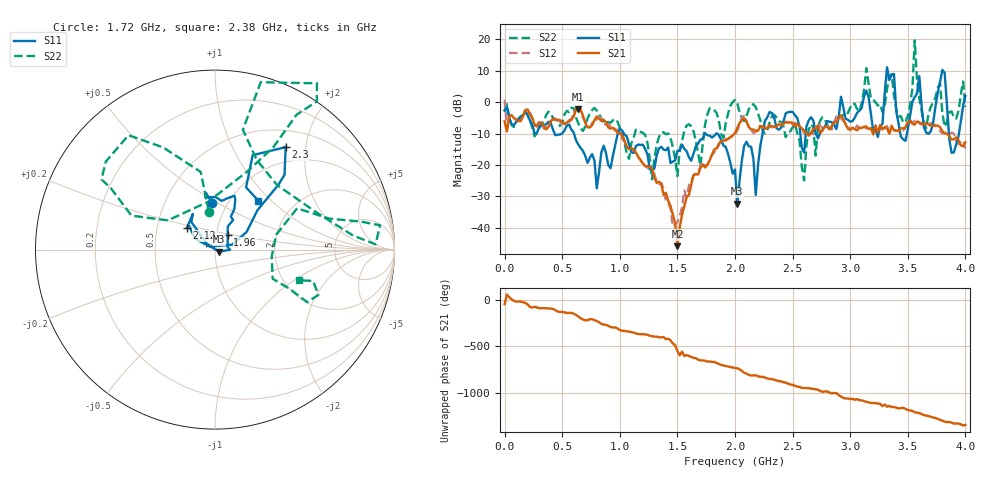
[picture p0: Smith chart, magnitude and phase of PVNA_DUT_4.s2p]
! PocketVna 1.78  pocketvna.com
! Live measurements ((Reflection-S11, Transmission-S21, Transmission-S12, Reflection-S22) Linear 500000-4000000000/201 calibrated)
# Hz S RI R 50
! Hz  ReS11  ImS11  ReS21  ImS21  ReS12  ImS12  ReS22  ImS22
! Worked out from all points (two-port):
!   201 points, 500 kHz to 4 GHz, reference 50 ohm
!   highest |S21| = -2.16 dB at 640.4 MHz (marker M1); lowest = -45.9 dB at 1.5 GHz (marker M2)
!   |S21| within 3 dB of the highest: 151.9 MHz to 242 MHz (90.11 MHz wide, 45.8 % of centre); 588.6 MHz to 688.2 MHz (99.62 MHz wide, 15.6 % of centre) (the widest 2 of 6)
!   lowest |S11| = -32.4 dB at 2.02 GHz (marker M3), VSWR 1.05, Z = 52.1 - j1.26 ohm
!   |S11| at or under -10 dB: 603.1 MHz to 984 MHz (380.9 MHz wide, 48 % of centre); 1.036 GHz to 1.739 GHz (703 MHz wide, 50.7 % of centre); 1.844 GHz to 2.239 GHz (395.8 MHz wide, 19.4 % of centre) (the widest 3 of 11)
!   |S22| runs from -24.9 to 19.7 dB; largest |S21 - S12| = 1.6
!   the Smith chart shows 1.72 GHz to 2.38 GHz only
!   S11 on the Smith chart (normalised r, x): 1.72 GHz: 0.85, +0.47; 1.96 GHz: 1.14, +0.19; 2.12 GHz: 0.71, +0.18; 2.3 GHz: 0.74, +1.65; 2.38 GHz: 1.33, +0.84
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500000  0.7235 0.181  0.3383 -0.3594  -0.6163 0.911  -0.0331 0.6955
6.4042e8  0.1468 -0.1512  -0.7795 0.00842  -0.7622 0.0265  0.2836 0.36
6.80415e8  -0.0157 -0.1663  -0.5299 0.3089  -0.4814 0.2983  0.2701 0.2179
1.340332e9  -0.0697 -0.1696  0.0403 -0.036  0.0329 -0.0373  -0.2786 -0.0108
1.500312e9  -0.1659 -0.0212  -0.00502 0.00071  -0.0123 0.000366  0.0635 0.0187
1.720285e9  -0.0153 0.2593  0.0361 0.0944  0.0305 0.1083  -0.0343 0.2114
1.960255e9  0.0705 0.081  0.2767 -0.00357  0.2764 -0.0178  0.4537 0.7505
2.00025e9  0.0844 -0.000579  0.3155 -0.064  0.3002 -0.0702  0.5682 0.9265
2.020248e9  0.0208 -0.0121  0.3731 -0.0966  0.3416 -0.0781  0.2549 0.9325
2.120235e9  -0.156 0.1209  0.044 -0.3962  -0.0181 -0.4058  0.7686 0.0786
2.300212e9  0.3938 0.5729  -0.2584 -0.3345  -0.2437 -0.3155  0.4157 -0.2187
2.380202e9  0.241 0.273  -0.3939 -0.2068  -0.359 -0.2347  0.4691 -0.1712
2.680165e9  0.3803 -0.3363  -0.2193 0.3085  -0.1802 0.2501  -0.0536 -0.3886
3.140108e9  -1.373 0.6607  0.3976 -0.0984  0.3745 -0.091  -2.402 2.51
3.340082e9  0.4754 2.211  0.1682 -0.2661  0.136 -0.2831  2.485 0.7733
3.36008e9  -2.669 0.5742  0.1441 -0.3912  0.1679 -0.3915  -2.776 -0.2597
3.52006e9  0.4798 -0.3702  -0.1449 -0.4794  -0.085 -0.5157  0.9011 0.0598
3.560055e9  0.6868 0.9869  -0.2488 -0.3607  -0.3014 -0.409  8.738 -4.014
3.580052e9  -0.0301 1.378  -0.307 -0.3853  -0.3265 -0.3806  -2.222 -0.4079
3.780028e9  1.682 1.259  -0.3576 0.1772  -0.3147 0.1502  0.1081 1.99
3.820022e9  -2.731 1.066  -0.2197 0.2268  -0.2551 0.2078  -0.3823 -0.1397
4e9  1.236 0.2524  -0.0352 0.2256  -0.0443 0.1769  -0.8283 -0.137
